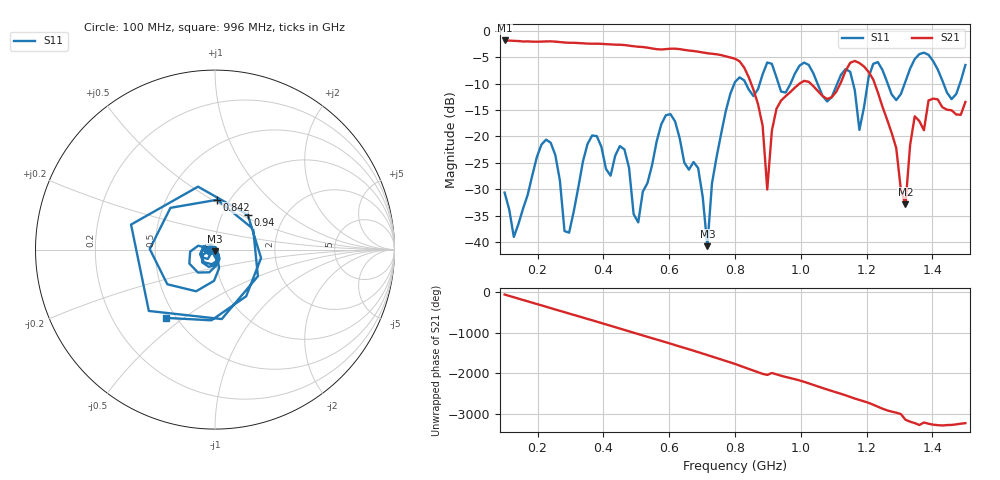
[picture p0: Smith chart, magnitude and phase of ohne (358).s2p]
! NanoVNA-App
! Date: 2025-09-25 14:23:35
! Start: 100MHz Stop: 1,5GHz Points: 101
! S-Parameter data: F S11 S21 S12 S22
# Hz S RI R 50
!  Frequency  S11_Real  S11_Imag  S21_Real  S21_Imag  S12_Real  S12_Imag  S22_Real  S22_Imag
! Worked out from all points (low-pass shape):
!   101 points, 100 MHz to 1.5 GHz, reference 50 ohm
!   highest |S21| = -1.79 dB at 100 MHz (marker M1); lowest = -32.9 dB at 1.318 GHz (marker M2)
!   |S21| within 3 dB of the highest: start of sweep to 771.5 MHz
!   lowest |S11| = -40.8 dB at 716 MHz (marker M3), VSWR 1.02, Z = 49.7 - j0.864 ohm
!   |S11| at or under -10 dB: start of sweep to 797.9 MHz; 833.1 MHz to 875.1 MHz (41.98 MHz wide, 4.92 % of centre); 1.051 GHz to 1.111 GHz (59.81 MHz wide, 5.53 % of centre) (the widest 3 of 7)
!   S12 and S22 are empty: the file has one direction only
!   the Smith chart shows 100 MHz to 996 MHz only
!   S11 on the Smith chart (normalised r, x): 100 MHz: 0.94, -0.01; 842 MHz: 0.88, +0.53; 940 MHz: 1.32, +0.55; 996 MHz: 0.44, -0.43
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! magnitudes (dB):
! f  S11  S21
! 100 MHz  -30.6  -1.8
! 128 MHz  -39.1  -1.9
! 226 MHz  -20.6  -2.0
! 296 MHz  -38.2  -2.2
! 338 MHz  -24.7  -2.3
! 464 MHz  -22.4  -2.7
! 506 MHz  -36.3  -3.0
! 576 MHz  -17.7  -3.5
! 688 MHz  -26.0  -3.9
! 716 MHz  -40.8  -4.2
! 800 MHz  -9.7  -5.3
! 842 MHz  -11.1  -8.8
! 898 MHz  -6.0  -30.1
! 940 MHz  -11.5  -13.2
! 996 MHz  -6.6  -10.0
! 1.038 GHz  -8.0  -10.4
! 1.178 GHz  -18.7  -6.1
! 1.22 GHz  -6.2  -9.2
! 1.276 GHz  -12.0  -19.3
! 1.318 GHz  -9.6  -32.9
! 1.346 GHz  -5.3  -16.2
! 1.5 GHz  -6.4  -13.5
